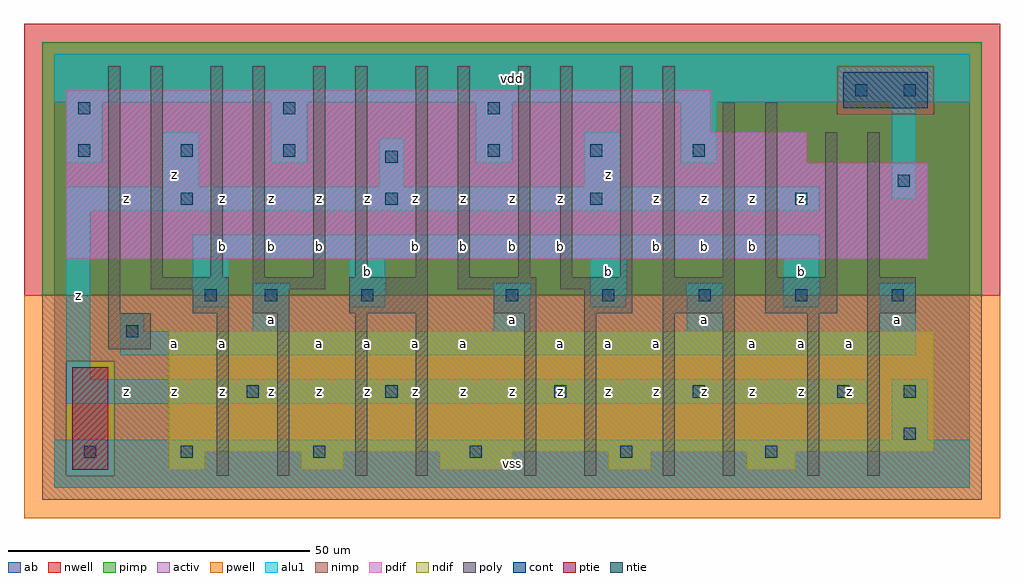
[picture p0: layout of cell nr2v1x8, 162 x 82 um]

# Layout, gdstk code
import gdstk
lib = gdstk.Library(unit=1e-6, precision=1e-09)
def R(c, l, rs):  # rectangles x0, y0, x1, y1
    for r in rs: c.add(gdstk.rectangle(r[:2], r[2:], *l))
def A(c, l, x, y, w, h, nx, ny, dx, dy):  # array of equal rectangles
    R(c, l, [(x+i*dx, y+j*dy, x+i*dx+w, y+j*dy+h) for i in range(nx) for j in range(ny)])
ndif = (3, 0)
pdif = (4, 0)
ntie = (5, 0)
ptie = (6, 0)
cont = (25, 0)
pwell = (41, 0)
nwell = (42, 0)
activ = (43, 0)
pimp = (44, 0)
nimp = (45, 0)
poly = (46, 0)
alu1 = (49, 0)
ab = (63, 0)

nr2v1x8 = lib.new_cell('nr2v1x8')
R(nr2v1x8, ndif, [(19,3,25,6), (41,3,48,6), (64,3,76,6), (92,3,99,6), (115,3,123,6), (19,6,146,26)])
R(nr2v1x8, pdif, [(2,38,145,54), (2,54,125,59), (2,59,109,66)])
R(nr2v1x8, ntie, [(131,63,145,69)])
R(nr2v1x8, ptie, [(3,3,9,20)])
A(nr2v1x8, cont, 75, 31, 2, 2, 5, 1, 16, 0)
A(nr2v1x8, cont, 21, 47, 2, 2, 4, 1, 34, 0)
A(nr2v1x8, cont, 4, 55, 2, 2, 3, 1, 17, 0)
A(nr2v1x8, cont, 72, 55, 2, 2, 3, 1, 17, 0)
A(nr2v1x8, cont, 4, 62, 2, 2, 3, 1, 34, 0)
R(nr2v1x8, cont, [(5,5,7,7), (21,5,23,7), (43,5,45,7), (69,5,71,7), (94,5,96,7), (118,5,120,7), (141,8,143,10), (32,15,34,17), (55,15,57,17), (83,15,85,17), (106,15,108,17), (130,15,132,17), (141,15,143,17), (12,25,14,27), (25,31,27,33), (35,31,37,33), (51,31,53,33), (140,50,142,52), (55,54,57,56), (133,65,135,67), (141,65,143,67)])
R(nr2v1x8, pwell, [(-5,-5,157,32)])
R(nr2v1x8, nwell, [(-5,32,157,77)])
R(nr2v1x8, activ, [(3,3,9,20), (19,3,25,6), (41,3,48,6), (64,3,76,6), (92,3,99,6), (115,3,123,6), (19,6,146,26), (2,38,145,54), (2,54,125,59), (2,59,109,66), (131,63,145,69)])
R(nr2v1x8, pimp, [(2,2,10,21), (-2,32,154,62), (-2,62,130,70), (146,62,154,70), (-2,70,154,74)])
R(nr2v1x8, nimp, [(-2,-2,154,2), (-2,2,2,21), (10,2,154,21), (-2,21,154,32), (130,62,146,70)])
R(nr2v1x8, poly, [(27,2,29,29), (37,2,39,29), (50,2,52,29), (60,2,62,29), (78,2,80,29), (88,2,90,29), (101,2,103,29), (111,2,113,29), (125,2,127,29), (135,2,137,29), (9,23,16,29), (9,29,11,70), (23,29,29,33), (33,29,39,33), (49,29,62,35), (73,29,80,33), (88,29,96,33), (101,29,113,35), (118,29,130,35), (135,29,143,35), (16,33,29,35), (33,33,45,35), (67,33,80,35), (84,33,96,35), (16,35,18,70), (26,35,28,70), (33,35,35,70), (43,35,45,70), (50,35,52,70), (60,35,62,70), (67,35,69,70), (77,35,79,70), (84,35,86,70), (94,35,96,70), (101,35,103,70), (111,35,113,64), (118,35,120,64), (128,35,130,59), (135,35,137,59)])
A(nr2v1x8, alu1, 73, 26, 6, 8, 3, 1, 32, 0)
A(nr2v1x8, alu1, 2, 54, 6, 10, 4, 1, 34, 0)
R(nr2v1x8, alu1, [(0,0,152,8), (139,8,145,18), (2,14,135,18), (2,18,6,46), (11,22,143,26), (11,26,15,29), (33,26,39,34), (23,30,29,38), (49,30,55,38), (89,30,95,38), (121,30,127,38), (23,38,127,42), (2,46,127,50), (139,48,143,64), (18,50,24,59), (54,50,58,58), (88,50,94,59), (0,64,152,72)])
R(nr2v1x8, ab, [(0,0,152,72)])
nr2v1x8.add(gdstk.Label('z', (12,16), layer=49, texttype=0))
nr2v1x8.add(gdstk.Label('z', (20,16), layer=49, texttype=0))
nr2v1x8.add(gdstk.Label('a', (20,24), layer=49, texttype=0))
nr2v1x8.add(gdstk.Label('z', (4,32), layer=49, texttype=0))
nr2v1x8.add(gdstk.Label('z', (12,48), layer=49, texttype=0))
nr2v1x8.add(gdstk.Label('z', (20,52), layer=49, texttype=0))
nr2v1x8.add(gdstk.Label('z', (36,16), layer=49, texttype=0))
nr2v1x8.add(gdstk.Label('z', (44,16), layer=49, texttype=0))
nr2v1x8.add(gdstk.Label('z', (52,16), layer=49, texttype=0))
nr2v1x8.add(gdstk.Label('z', (28,16), layer=49, texttype=0))
nr2v1x8.add(gdstk.Label('a', (28,24), layer=49, texttype=0))
nr2v1x8.add(gdstk.Label('a', (52,24), layer=49, texttype=0))
nr2v1x8.add(gdstk.Label('a', (44,24), layer=49, texttype=0))
nr2v1x8.add(gdstk.Label('a', (36,28), layer=49, texttype=0))
nr2v1x8.add(gdstk.Label('b', (28,40), layer=49, texttype=0))
nr2v1x8.add(gdstk.Label('b', (52,36), layer=49, texttype=0))
nr2v1x8.add(gdstk.Label('b', (36,40), layer=49, texttype=0))
nr2v1x8.add(gdstk.Label('b', (44,40), layer=49, texttype=0))
nr2v1x8.add(gdstk.Label('z', (28,48), layer=49, texttype=0))
nr2v1x8.add(gdstk.Label('z', (52,48), layer=49, texttype=0))
nr2v1x8.add(gdstk.Label('z', (36,48), layer=49, texttype=0))
nr2v1x8.add(gdstk.Label('z', (44,48), layer=49, texttype=0))
nr2v1x8.add(gdstk.Label('vss', (76,4), layer=49, texttype=0))
nr2v1x8.add(gdstk.Label('z', (68,16), layer=49, texttype=0))
nr2v1x8.add(gdstk.Label('z', (76,16), layer=49, texttype=0))
nr2v1x8.add(gdstk.Label('z', (84,16), layer=49, texttype=0))
nr2v1x8.add(gdstk.Label('z', (60,16), layer=49, texttype=0))
nr2v1x8.add(gdstk.Label('a', (60,24), layer=49, texttype=0))
nr2v1x8.add(gdstk.Label('a', (84,24), layer=49, texttype=0))
nr2v1x8.add(gdstk.Label('a', (68,24), layer=49, texttype=0))
nr2v1x8.add(gdstk.Label('a', (76,28), layer=49, texttype=0))
nr2v1x8.add(gdstk.Label('b', (60,40), layer=49, texttype=0))
nr2v1x8.add(gdstk.Label('b', (76,40), layer=49, texttype=0))
nr2v1x8.add(gdstk.Label('b', (84,40), layer=49, texttype=0))
nr2v1x8.add(gdstk.Label('b', (68,40), layer=49, texttype=0))
nr2v1x8.add(gdstk.Label('z', (60,48), layer=49, texttype=0))
nr2v1x8.add(gdstk.Label('z', (76,48), layer=49, texttype=0))
nr2v1x8.add(gdstk.Label('z', (84,48), layer=49, texttype=0))
nr2v1x8.add(gdstk.Label('z', (68,48), layer=49, texttype=0))
nr2v1x8.add(gdstk.Label('vdd', (76,68), layer=49, texttype=0))
nr2v1x8.add(gdstk.Label('z', (100,16), layer=49, texttype=0))
nr2v1x8.add(gdstk.Label('z', (108,16), layer=49, texttype=0))
nr2v1x8.add(gdstk.Label('z', (116,16), layer=49, texttype=0))
nr2v1x8.add(gdstk.Label('z', (92,16), layer=49, texttype=0))
nr2v1x8.add(gdstk.Label('a', (92,24), layer=49, texttype=0))
nr2v1x8.add(gdstk.Label('a', (116,24), layer=49, texttype=0))
nr2v1x8.add(gdstk.Label('a', (100,24), layer=49, texttype=0))
nr2v1x8.add(gdstk.Label('a', (108,28), layer=49, texttype=0))
nr2v1x8.add(gdstk.Label('b', (92,36), layer=49, texttype=0))
nr2v1x8.add(gdstk.Label('b', (108,40), layer=49, texttype=0))
nr2v1x8.add(gdstk.Label('b', (116,40), layer=49, texttype=0))
nr2v1x8.add(gdstk.Label('b', (100,40), layer=49, texttype=0))
nr2v1x8.add(gdstk.Label('z', (92,52), layer=49, texttype=0))
nr2v1x8.add(gdstk.Label('z', (108,48), layer=49, texttype=0))
nr2v1x8.add(gdstk.Label('z', (116,48), layer=49, texttype=0))
nr2v1x8.add(gdstk.Label('z', (100,48), layer=49, texttype=0))
nr2v1x8.add(gdstk.Label('z', (132,16), layer=49, texttype=0))
nr2v1x8.add(gdstk.Label('z', (124,16), layer=49, texttype=0))
nr2v1x8.add(gdstk.Label('a', (124,24), layer=49, texttype=0))
nr2v1x8.add(gdstk.Label('a', (132,24), layer=49, texttype=0))
nr2v1x8.add(gdstk.Label('a', (140,28), layer=49, texttype=0))
nr2v1x8.add(gdstk.Label('b', (124,36), layer=49, texttype=0))
nr2v1x8.add(gdstk.Label('z', (124,48), layer=49, texttype=0))

lib.write_gds('nr2v1x8.gds')
